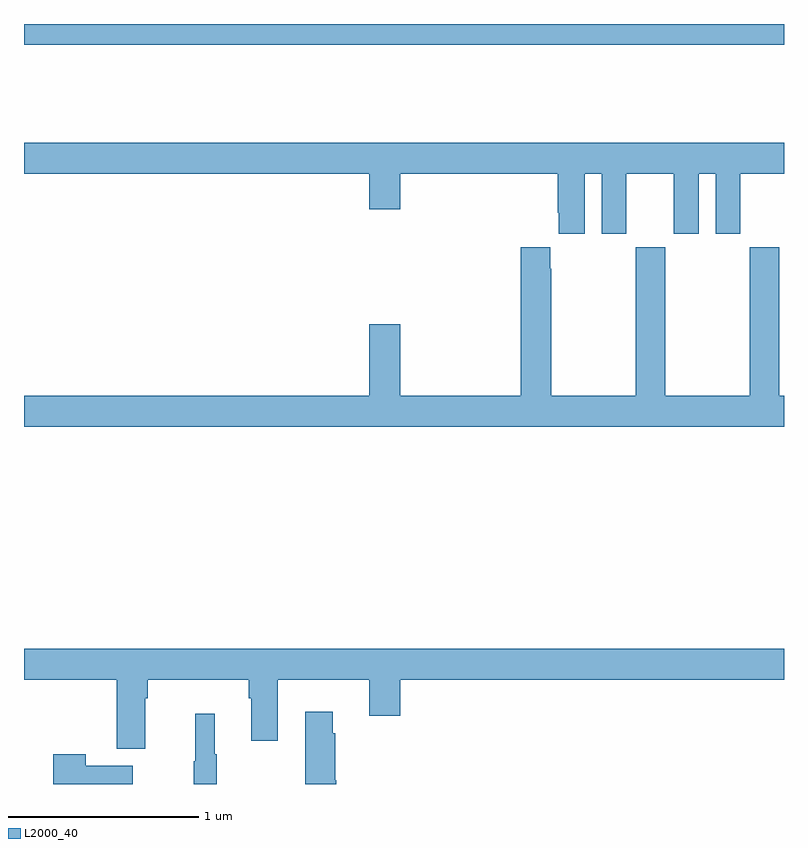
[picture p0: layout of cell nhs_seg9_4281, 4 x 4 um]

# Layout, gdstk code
import gdstk
lib = gdstk.Library(unit=1e-6, precision=1e-09)
def R(c, l, rs):  # rectangles x0, y0, x1, y1
    for r in rs: c.add(gdstk.rectangle(r[:2], r[2:], *l))
def P(c, l, *ps):  # polygons
    for p in ps: c.add(gdstk.Polygon(p, *l))
L2000_40 = (2000, 40)

nhs_seg9_4281 = lib.new_cell('nhs_seg9_4281')
R(nhs_seg9_4281, L2000_40, [(355,1238.392,359,1238.5)])
P(nhs_seg9_4281, L2000_40, [(355,1237.712),(356.816,1237.712),(356.816,1237.524),(356.98,1237.524),(356.98,1237.712),(357.809,1237.712),(357.809,1237.507),(357.815,1237.507),(357.815,1237.395),(357.952,1237.395),(357.952,1237.712),(358.04,1237.712),(358.04,1237.395),(358.171,1237.395),(358.171,1237.712),(358.421,1237.712),(358.421,1237.395),(358.552,1237.395),(358.552,1237.712),(358.64,1237.712),(358.64,1237.395),(358.771,1237.395),(358.771,1237.712),(359,1237.712),(359,1237.876),(355,1237.876)],
  [(359,1236.544),(358.974,1236.544),(358.974,1237.324),(358.819,1237.324),(358.819,1236.544),(358.374,1236.544),(358.374,1237.324),(358.219,1237.324),(358.219,1236.544),(357.774,1236.544),(357.774,1237.211),(357.769,1237.211),(357.769,1237.324),(357.614,1237.324),(357.614,1236.544),(356.98,1236.544),(356.98,1236.919),(356.816,1236.919),(356.816,1236.544),(355,1236.544),(355,1236.38),(359,1236.38)],
  [(355.639,1234.952),(355.652,1234.952),(355.652,1235.048),(356.183,1235.048),(356.183,1234.952),(356.195,1234.952),(356.195,1234.728),(356.335,1234.728),(356.335,1235.048),(356.816,1235.048),(356.816,1234.86),(356.98,1234.86),(356.98,1235.048),(359,1235.048),(359,1235.212),(355,1235.212),(355,1235.048),(355.487,1235.048),(355.487,1234.686),(355.639,1234.686)],
  [(356.644,1234.521),(356.639,1234.521),(356.639,1234.766),(356.626,1234.766),(356.626,1234.879),(356.48,1234.879),(356.48,1234.5),(356.644,1234.5)],
  [(356.014,1234.657),(356.003,1234.657),(356.003,1234.87),(355.9,1234.87),(355.9,1234.62),(355.893,1234.62),(355.893,1234.5),(356.014,1234.5)],
  [(355.573,1234.597),(355.325,1234.597),(355.325,1234.657),(355.154,1234.657),(355.154,1234.5),(355.573,1234.5)])

lib.write_gds('nhs_seg9_4281.gds')
